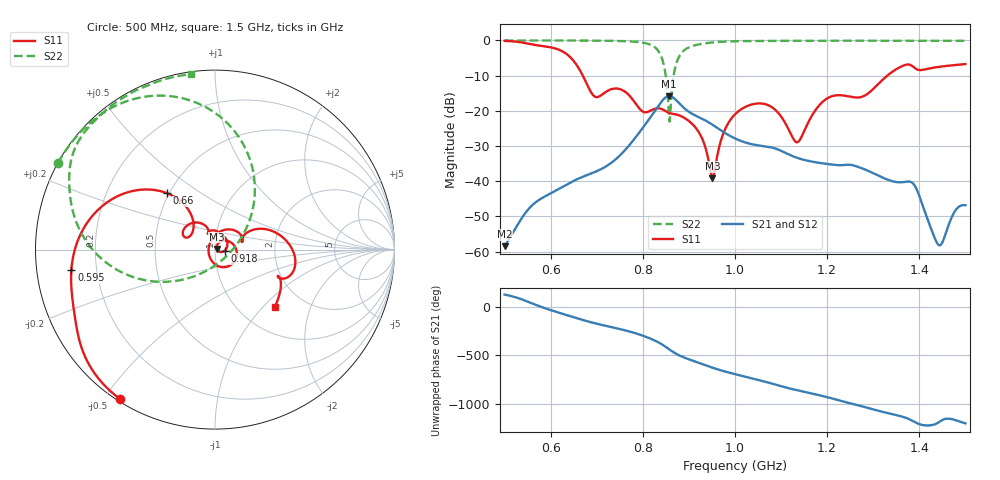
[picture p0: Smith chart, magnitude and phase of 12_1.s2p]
! TOUCHSTONE file generated by CST MICROWAVE STUDIO
! Date and time: Mon Oct 26 12:06:05 2020
! Project name: Scenario_1_Circular_Tissue_out_of_Line_v2.cst
! Parameters = {dy1=-155.7; L_HA=400; MT=2.54; Rad_Dielectric=30; Rad_Lower=7.3; Rad_Upper=30; a_HA=580; a_WG=246; b_HA=500; b_WG=121; c_HA=0; c_WG=187; d_feed=85; dx1=173; h_feed=15; h_lower=18; h_upper=40}
! Header version: 2018
! Port assignment regex: !\s*Touchstone port\s*([0-9]+)\s*=\s*(CST MWS port|CST DS port)\s*([0-9]+|Zmin|Zmax)\s*\(\"(.*)\"\)(\s*mode\s*([0-9]+))?.*
! Touchstone port assignment:
! Touchstone port 1 = CST MWS port 1 ("")
! Touchstone port 2 = CST MWS port 2 ("")
# GHz S DB R 50
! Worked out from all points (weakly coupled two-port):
!   1003 points, 500 MHz to 1.5 GHz, reference 50 ohm
!   highest |S21| = -15.80 dB at 857 MHz (marker M1); lowest = -58.5 dB at 500 MHz (marker M2)
!   lowest |S11| = -39.2 dB at 951 MHz (marker M3), VSWR 1.02, Z = 51.1 + j0.298 ohm
!   |S11| at or under -10 dB: 669.7 MHz to 1.331 GHz (660.9 MHz wide, 66.1 % of centre)
!   |S22| runs from -23.1 to 0.0 dB; largest |S21 - S12| = 2.1e-06
!   S11 on the Smith chart (normalised r, x): 500 MHz: 0.01, -0.55; 595 MHz: 0.11, -0.07; 660 MHz: 0.49, +0.37; 918 MHz: 1.11, -0.01; 1.5 GHz: 1.45, -1.17
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0.5  -0.12 -122.6  -58.46 129.7  -58.46 129.7  -0.01 151.1
0.595  -1.84 -171.8  -43.79 -23.5  -43.79 -23.5  -0.02 144.5
0.66  -7.72 130.3  -39.28 -119.7  -39.28 -119.7  -0.04 139.0
0.667  -9.33 125.9  -38.89 -129.6  -38.89 -129.6  -0.04 138.3
0.696  -15.98 141.7  -37.37 -167.5  -37.37 -167.5  -0.07 135.3
0.745  -13.69 141.7  -33.33 138.4  -33.33 138.4  -0.15 128.4
0.78  -17.15 111.1  -28.25 95.2  -28.25 95.2  -0.34 120.5
0.834  -19.30 97.9  -18.54 -5.6  -18.54 -5.6  -3.08 83.8
0.846  -19.82 83.0  -16.56 -39.7  -16.56 -39.7  -7.26 59.4
0.857  -20.61 72.1  -15.80 -76.2  -15.80 -76.2  -21.97 -18.1
0.878  -21.25 47.9  -17.73 -137.4  -17.73 -137.4  -4.78 -170.1
0.918  -25.38 -6.9  -21.58 149.1  -21.58 149.1  -1.23 158.7
0.951  -39.21 15.4  -23.95 93.2  -23.95 93.2  -0.57 149.4
0.974  -26.66 60.2  -25.95 59.3  -25.95 59.3  -0.35 144.6
1  -21.00 31.5  -27.85 26.3  -27.85 26.3  -0.23 140.3
1.072  -18.40 -49.5  -30.22 -60.7  -30.22 -60.7  -0.15 132.1
1.134  -28.93 178.4  -33.33 -138.9  -33.33 -138.9  -0.11 126.8
1.167  -21.35 86.3  -34.43 -174.1  -34.43 -174.1  -0.09 124.2
1.334  -9.63 18.7  -39.69 -19.6  -39.69 -19.6  -0.10 111.5
1.388  -7.61 -22.8  -40.88 -103.7  -40.88 -103.7  -0.09 107.3
1.443  -7.50 -29.6  -58.20 -109.2  -58.20 -109.2  -0.10 102.8
1.5  -6.72 -43.6  -46.81 -122.7  -46.81 -122.7  -0.12 97.8
